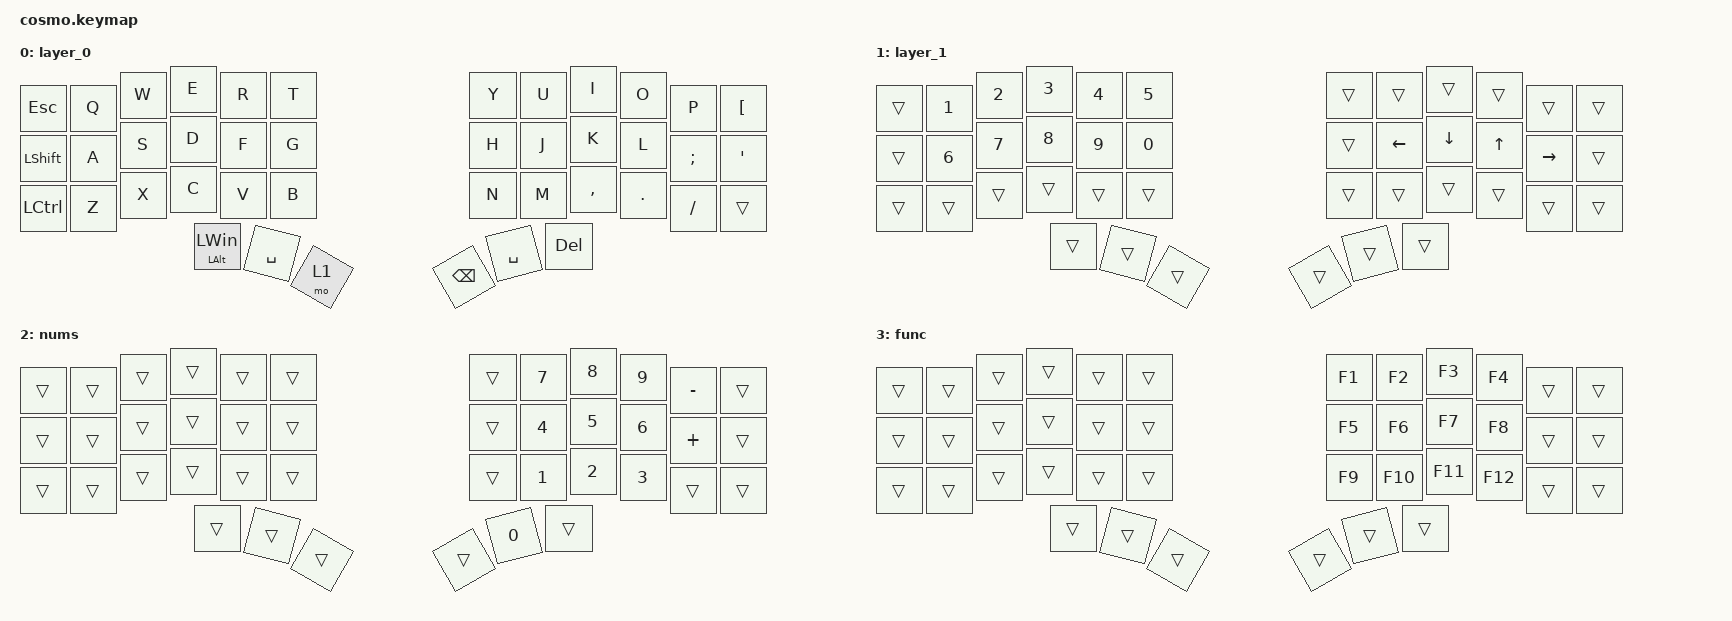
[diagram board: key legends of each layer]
/* upstream bindings and behaviors */

#include <dt-bindings/zmk/mouse.h>
#include <behaviors/mouse_keys.dtsi>
#include <behaviors.dtsi>
#include <dt-bindings/zmk/bt.h>
#include <dt-bindings/zmk/keys.h>
#include <dt-bindings/zmk/pointing.h>

/ {
    combos {
        compatible = "zmk,combos";

        dot {
            bindings = <&kp DOT>;
            key-positions = <22 21>;
        };

        colon {
            bindings = <&kp COLON>;
            key-positions = <21 19>;
        };

        apostrophe {
            bindings = <&kp SQT>;
            key-positions = <8 21>;
        };

        comma {
            bindings = <&kp COMMA>;
            key-positions = <21 20>;
        };

        semicolon {
            bindings = <&kp SEMICOLON>;
            key-positions = <21 19 22>;
        };

        dquotes {
            bindings = <&kp DOUBLE_QUOTES>;
            key-positions = <21 7>;
        };

        underscore {
            bindings = <&kp UNDERSCORE>;
            key-positions = <30 31>;
        };

        equal {
            bindings = <&kp EQUAL>;
            key-positions = <6 7>;
        };

        minus {
            bindings = <&kp MINUS>;
            key-positions = <19 18>;
        };

        plus {
            bindings = <&kp PLUS>;
            key-positions = <19 18 20>;
        };

        lbracket {
            bindings = <&kp LEFT_BRACKET>;
            key-positions = <6 39>;
        };

        lparenthesis {
            bindings = <&kp LEFT_PARENTHESIS>;
            key-positions = <39 19>;
        };

        lbrace {
            bindings = <&kp LEFT_BRACE>;
            key-positions = <31 39>;
        };

        rbracket {
            bindings = <&kp RIGHT_BRACKET>;
            key-positions = <39 7>;
        };

        rparenthesis {
            bindings = <&kp RIGHT_PARENTHESIS>;
            key-positions = <39 20>;
        };

        rbrace {
            bindings = <&kp RIGHT_BRACE>;
            key-positions = <39 32>;
        };

        slash {
            bindings = <&kp SLASH>;
            key-positions = <9 20 31>;
        };

        bslach {
            bindings = <&kp BACKSLASH>;
            key-positions = <7 20 33>;
        };

        caret {
            bindings = <&kp CARET>;
            key-positions = <19 8 21>;
        };

        lthan {
            bindings = <&kp LESS_THAN>;
            key-positions = <19 8>;
        };

        gthan {
            bindings = <&kp GREATER_THAN>;
            key-positions = <7 20>;
        };

        caps {
            bindings = <&caps_word>;
            key-positions = <18 17>;
        };

        pipe {
            bindings = <&kp PIPE>;
            key-positions = <40 19 8>;
        };

        tilde {
            bindings = <&kp TILDE>;
            key-positions = <19 10>;
        };

        grave {
            bindings = <&kp GRAVE>;
            key-positions = <19 6>;
        };

        percent {
            bindings = <&kp PERCENT>;
            key-positions = <7 33>;
        };

        exclamation {
            bindings = <&kp EXCLAMATION>;
            key-positions = <7 8 21>;
        };

        question {
            bindings = <&kp EXCLAMATION>;
            key-positions = <9 20 19>;
        };

        dolla {
            bindings = <&kp DOLLAR>;
            key-positions = <31 32 9>;
        };

        atsign {
            bindings = <&kp AT_SIGN>;
            key-positions = <7 20 21>;
        };

        amp {
            bindings = <&kp AMPERSAND>;
            key-positions = <18 20>;
        };

        ast {
            bindings = <&kp ASTERISK>;
            key-positions = <30 31 32>;
        };

        hash {
            bindings = <&kp HASH>;
            key-positions = <8 7 6>;
        };

        tab {
            bindings = <&kp TAB>;
            key-positions = <19 20>;
        };

        enter {
            bindings = <&kp ENTER>;
            key-positions = <20 21 19 22>;
        };

        home {
            bindings = <&kp HOME>;
            key-positions = <7 8 9>;
        };

        pd {
            bindings = <&kp PAGE_DOWN>;
            key-positions = <30 33>;
        };

        pup {
            bindings = <&kp PAGE_UP>;
            key-positions = <18 21>;
        };

        l {
            bindings = <&mkp LCLK>;
            key-positions = <31 32>;
        };

        r {
            bindings = <&mkp RCLK>;
            key-positions = <32 33>;
        };

        m {
            bindings = <&mkp MCLK>;
            key-positions = <32 33 31>;
        };

        btclear {
            bindings = <&bt BT_CLR_ALL>;
            key-positions = <1 2 3 37 10 9 8 40 7 4>;
        };

        func {
            bindings = <&mo 3>;
            key-positions = <13 14>;
        };

        nums {
            bindings = <&mo 2>;
            key-positions = <15 16>;
        };
    };

    keymap {
        compatible = "zmk,keymap";

        layer_0 {
            bindings = <
&kp ESCAPE      &kp Q  &kp W  &kp E                  &kp R      &kp T    &kp Y          &kp U      &kp I       &kp O    &kp P     &kp LBKT
&kp LEFT_SHIFT  &kp A  &kp S  &kp D                  &kp F      &kp G    &kp H          &kp J      &kp K       &kp L    &kp SEMI  &kp SQT
&kp LCTRL       &kp Z  &kp X  &kp C                  &kp V      &kp B    &kp N          &kp M      &kp COMMA   &kp DOT  &kp FSLH  &trans
                              &mt LEFT_ALT LEFT_WIN  &kp SPACE  &mo 1    &kp BACKSPACE  &kp SPACE  &kp DELETE
            >;
        };

        layer_1 {
            bindings = <
&trans  &kp N1  &kp N2  &kp N3  &kp N4  &kp N5    &trans  &trans    &trans    &trans  &trans     &trans
&trans  &kp N6  &kp N7  &kp N8  &kp N9  &kp N0    &trans  &kp LEFT  &kp DOWN  &kp UP  &kp RIGHT  &trans
&trans  &trans  &trans  &trans  &trans  &trans    &trans  &trans    &trans    &trans  &trans     &trans
                        &trans  &trans  &trans    &trans  &trans    &trans
            >;
        };

        nums {
            bindings = <
&trans  &trans  &trans  &trans  &trans  &trans    &trans  &kp N7  &kp N8  &kp N9  &kp MINUS  &trans
&trans  &trans  &trans  &trans  &trans  &trans    &trans  &kp N4  &kp N5  &kp N6  &kp PLUS   &trans
&trans  &trans  &trans  &trans  &trans  &trans    &trans  &kp N1  &kp N2  &kp N3  &trans     &trans
                        &trans  &trans  &trans    &trans  &kp N0  &trans
            >;
        };

        func {
            bindings = <
&trans  &trans  &trans  &trans  &trans  &trans    &kp F1  &kp F2   &kp F3   &kp F4   &trans  &trans
&trans  &trans  &trans  &trans  &trans  &trans    &kp F5  &kp F6   &kp F7   &kp F8   &trans  &trans
&trans  &trans  &trans  &trans  &trans  &trans    &kp F9  &kp F10  &kp F11  &kp F12  &trans  &trans
                        &trans  &trans  &trans    &trans  &trans   &trans
            >;
        };
    };
};
